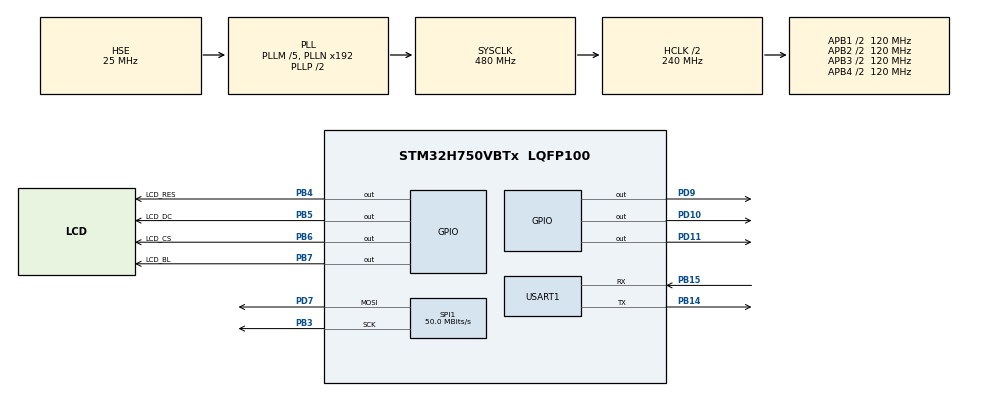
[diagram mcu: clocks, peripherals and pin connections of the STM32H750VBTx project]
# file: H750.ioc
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CORTEX_M7.default_mode_Activation=1
Dma.Request0=SPI1_TX
Dma.SPI1_TX.0.Direction=DMA_MEMORY_TO_PERIPH
Dma.SPI1_TX.0.EventEnable=DISABLE
Dma.SPI1_TX.0.FIFOMode=DMA_FIFOMODE_DISABLE
Dma.SPI1_TX.0.Instance=DMA1_Stream0
Dma.SPI1_TX.0.MemDataAlignment=DMA_MDATAALIGN_HALFWORD
Dma.SPI1_TX.0.MemInc=DMA_MINC_ENABLE
Dma.SPI1_TX.0.Mode=DMA_NORMAL
Dma.SPI1_TX.0.PeriphDataAlignment=DMA_PDATAALIGN_HALFWORD
Dma.SPI1_TX.0.PeriphInc=DMA_PINC_DISABLE
Dma.SPI1_TX.0.Polarity=HAL_DMAMUX_REQ_GEN_RISING
Dma.SPI1_TX.0.Priority=DMA_PRIORITY_MEDIUM
Dma.SPI1_TX.0.RequestNumber=1
Dma.SPI1_TX.0.SignalID=NONE
Dma.SPI1_TX.0.SyncEnable=DISABLE
Dma.SPI1_TX.0.SyncPolarity=HAL_DMAMUX_SYNC_NO_EVENT
Dma.SPI1_TX.0.SyncRequestNumber=1
Dma.SPI1_TX.0.SyncSignalID=NONE
Mcu.Family=STM32H7
Mcu.Name=STM32H750VBTx
Mcu.Package=LQFP100
NVIC.DMA1_Stream0_IRQn=true\:0\:0\:true\:false\:true\:false\:true\:true
NVIC.PriorityGroup=NVIC_PRIORITYGROUP_4
NVIC.SPI1_IRQn=true\:0\:0\:true\:false\:true\:false\:true\:true
NVIC.TIM3_IRQn=true\:0\:0\:false\:false\:true\:true\:true\:true
PA13\ (JTMS/SWDIO).Mode=Serial_Wire
PA13\ (JTMS/SWDIO).Signal=DEBUG_JTMS-SWDIO
PA14\ (JTCK/SWCLK).Mode=Serial_Wire
PA14\ (JTCK/SWCLK).Signal=DEBUG_JTCK-SWCLK
PB14.GPIO_Speed=GPIO_SPEED_FREQ_VERY_HIGH
PB14.Mode=Asynchronous
PB14.Signal=USART1_TX
PB15.GPIO_Speed=GPIO_SPEED_FREQ_VERY_HIGH
PB15.Mode=Asynchronous
PB15.Signal=USART1_RX
PB3\ (JTDO/TRACESWO).GPIO_Speed=GPIO_SPEED_FREQ_VERY_HIGH
PB3\ (JTDO/TRACESWO).Mode=TX_Only_Simplex_Unidirect_Master
PB3\ (JTDO/TRACESWO).Signal=SPI1_SCK
PB4\ (NJTRST).GPIO_Label=LCD_RES
PB4\ (NJTRST).GPIO_Speed=GPIO_SPEED_FREQ_VERY_HIGH
PB4\ (NJTRST).PinState=GPIO_PIN_SET
PB4\ (NJTRST).Signal=GPIO_Output
PB5.GPIO_Label=LCD_DC
PB5.GPIO_Speed=GPIO_SPEED_FREQ_VERY_HIGH
PB5.PinState=GPIO_PIN_SET
PB5.Signal=GPIO_Output
PB6.GPIO_Label=LCD_CS
PB6.GPIO_Speed=GPIO_SPEED_FREQ_VERY_HIGH
PB6.PinState=GPIO_PIN_SET
PB6.Signal=GPIO_Output
PB7.GPIO_FM7=__NULL
PB7.GPIO_Label=LCD_BL
PB7.GPIO_Speed=GPIO_SPEED_FREQ_VERY_HIGH
PB7.PinState=GPIO_PIN_SET
PB7.Signal=GPIO_Output
PD10.GPIO_Speed=GPIO_SPEED_FREQ_HIGH
PD10.PinState=GPIO_PIN_SET
PD10.Signal=GPIO_Output
PD11.GPIO_Speed=GPIO_SPEED_FREQ_HIGH
PD11.PinState=GPIO_PIN_SET
PD11.Signal=GPIO_Output
PD7.GPIO_Speed=GPIO_SPEED_FREQ_VERY_HIGH
PD7.Mode=TX_Only_Simplex_Unidirect_Master
PD7.Signal=SPI1_MOSI
PD9.GPIO_Speed=GPIO_SPEED_FREQ_HIGH
PD9.PinState=GPIO_PIN_SET
PD9.Signal=GPIO_Output
PH0-OSC_IN\ (PH0).Mode=HSE-External-Oscillator
PH0-OSC_IN\ (PH0).Signal=RCC_OSC_IN
PH1-OSC_OUT\ (PH1).Mode=HSE-External-Oscillator
PH1-OSC_OUT\ (PH1).Signal=RCC_OSC_OUT
ProjectManager.HeapSize=0x200
ProjectManager.StackSize=0x400
ProjectManager.TargetToolchain=MDK-ARM V5.32
RCC.ADCFreq_Value=200000000
RCC.APB1Freq_Value=120000000
RCC.APB2Freq_Value=120000000
RCC.APB3Freq_Value=120000000
RCC.APB4Freq_Value=120000000
RCC.CortexFreq_Value=480000000
RCC.D1PPRE=RCC_APB3_DIV2
RCC.D2PPRE1=RCC_APB1_DIV2
RCC.D2PPRE2=RCC_APB2_DIV2
RCC.D3PPRE=RCC_APB4_DIV2
RCC.DIVM1=5
RCC.DIVM2=5
RCC.DIVN1=192
RCC.DIVN2=80
RCC.HCLKFreq_Value=240000000
RCC.HPRE=RCC_HCLK_DIV2
RCC.PLLFRACN=0
RCC.PLLSourceVirtual=RCC_PLLSOURCE_HSE
RCC.SPI123CLockSelection=RCC_SPI123CLKSOURCE_PLL2
RCC.SYSCLKFreq_VALUE=480000000
RCC.SYSCLKSource=RCC_SYSCLKSOURCE_PLLCLK
RCC.USBFreq_Value=480000000
SPI1.BaudRatePrescaler=SPI_BAUDRATEPRESCALER_4
SPI1.CLKPhase=SPI_PHASE_2EDGE
SPI1.CLKPolarity=SPI_POLARITY_HIGH
SPI1.CRCCalculation=SPI_CRCCALCULATION_DISABLE
SPI1.CalculateBaudRate=50.0 MBits/s
SPI1.DataSize=SPI_DATASIZE_16BIT
SPI1.Direction=SPI_DIRECTION_2LINES_TXONLY
SPI1.IOSwap=SPI_IO_SWAP_DISABLE
SPI1.MasterKeepIOState=SPI_MASTER_KEEP_IO_STATE_ENABLE
SPI1.Mode=SPI_MODE_MASTER
SPI1.NSSPMode=SPI_NSS_PULSE_DISABLE
SPI1.VirtualType=VM_MASTER
TIM3.AutoReloadPreload=TIM_AUTORELOAD_PRELOAD_ENABLE
TIM3.Period=999
TIM3.Prescaler=239
USART1.VirtualMode-Asynchronous=VM_ASYNC
USART1.WordLength=WORDLENGTH_8B
VP_TIM3_VS_ClockSourceINT.Mode=Internal
board=custom

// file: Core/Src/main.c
/* USER CODE BEGIN Header */
/**
  ******************************************************************************
  * @file           : main.c
  * @brief          : Main program body
  ******************************************************************************
  * @attention
  *
  * Copyright (c) 2022 STMicroelectronics.
  * All rights reserved.
  *
  * This software is licensed under terms that can be found in the LICENSE file
  * in the root directory of this software component.
  * If no LICENSE file comes with this software, it is provided AS-IS.
  *
  ******************************************************************************
  */
/* USER CODE END Header */
#include "main.h"
#include "dma.h"
#include "spi.h"
#include "tim.h"
#include "usart.h"
#include "gpio.h"

/* USER CODE BEGIN Includes */
#include "bsp_tft_st7735.h"
#include "lvgl.h"
#include "lv_port_disp.h"
#include "lv_demos.h"
/* USER CODE END Includes */

/* USER CODE BEGIN PTD */
extern uint8_t Anime_Flag;
/* USER CODE END PTD */

void SystemClock_Config(void);
static void MPU_Config(void);

/* USER CODE BEGIN 0 */
extern TIM_HandleTypeDef htim3;

void lv_100ask_demo_course_2_1_1(void)
{

    lv_obj_t *btn = lv_btn_create(lv_scr_act());
    lv_obj_align(btn, LV_ALIGN_CENTER, 0, 0);
//    lv_obj_set_height(btn, 30);
	lv_obj_set_size(btn, 100, 40);

    lv_obj_t *label;
    label = lv_label_create(btn);
    lv_obj_align(label, LV_ALIGN_CENTER, 0, 0);
    lv_label_set_text(label, "HELLO LVGL");

    static lv_style_t style_btn;
    lv_style_init(&style_btn);
    lv_style_set_radius(&style_btn, 10);
    lv_style_set_border_color(&style_btn, lv_color_white());
    lv_style_set_border_opa(&style_btn, LV_OPA_30);
    lv_obj_add_style(btn, &style_btn, LV_STATE_DEFAULT);

}

/* USER CODE END 0 */

int main(void)
{

  /* MPU Configuration--------------------------------------------------------*/
  MPU_Config();

  /* MCU Configuration--------------------------------------------------------*/

  /* Reset of all peripherals, Initializes the Flash interface and the Systick. */
  HAL_Init();

  /* Configure the system clock */
  SystemClock_Config();

  /* Initialize all configured peripherals */
  MX_GPIO_Init();
  MX_DMA_Init();
  MX_SPI1_Init();

  MX_USART1_UART_Init();
  MX_TIM3_Init();
  /* USER CODE BEGIN 2 */

  LCD_Init();
  HAL_Delay(100);

  lv_init();
  lv_port_disp_init();

  lv_100ask_demo_course_2_1_1();
//  lv_demo_music();
//  lv_demo_widgets();
//  lv_demo_benchmark();

  /* USER CODE END 2 */

  /* Infinite loop */
  /* USER CODE BEGIN WHILE */
  HAL_TIM_Base_Start_IT(&htim3);
  while (1)
	{
    /* USER CODE END WHILE */

    /* USER CODE BEGIN 3 */

        lv_task_handler();

	}
  /* USER CODE END 3 */
}

void SystemClock_Config(void)
{
  RCC_OscInitTypeDef RCC_OscInitStruct = {0};
  RCC_ClkInitTypeDef RCC_ClkInitStruct = {0};

  /** Supply configuration update enable
  */
  HAL_PWREx_ConfigSupply(PWR_LDO_SUPPLY);

  /** Configure the main internal regulator output voltage
  */
  __HAL_PWR_VOLTAGESCALING_CONFIG(PWR_REGULATOR_VOLTAGE_SCALE0);

  while(!__HAL_PWR_GET_FLAG(PWR_FLAG_VOSRDY)) {}

  /** Macro to configure the PLL clock source
  */
  __HAL_RCC_PLL_PLLSOURCE_CONFIG(RCC_PLLSOURCE_HSE);

  /** Initializes the RCC Oscillators according to the specified parameters
  * in the RCC_OscInitTypeDef structure.
  */
  RCC_OscInitStruct.OscillatorType = RCC_OSCILLATORTYPE_HSE;
  RCC_OscInitStruct.HSEState = RCC_HSE_ON;
  RCC_OscInitStruct.PLL.PLLState = RCC_PLL_ON;
  RCC_OscInitStruct.PLL.PLLSource = RCC_PLLSOURCE_HSE;
  RCC_OscInitStruct.PLL.PLLM = 5;
  RCC_OscInitStruct.PLL.PLLN = 192;
  RCC_OscInitStruct.PLL.PLLP = 2;
  RCC_OscInitStruct.PLL.PLLQ = 2;
  RCC_OscInitStruct.PLL.PLLR = 2;
  RCC_OscInitStruct.PLL.PLLRGE = RCC_PLL1VCIRANGE_2;
  RCC_OscInitStruct.PLL.PLLVCOSEL = RCC_PLL1VCOWIDE;
  RCC_OscInitStruct.PLL.PLLFRACN = 0;
  if (HAL_RCC_OscConfig(&RCC_OscInitStruct) != HAL_OK)
  {
    Error_Handler();
  }

  /** Initializes the CPU, AHB and APB buses clocks
  */
  RCC_ClkInitStruct.ClockType = RCC_CLOCKTYPE_HCLK|RCC_CLOCKTYPE_SYSCLK
                              |RCC_CLOCKTYPE_PCLK1|RCC_CLOCKTYPE_PCLK2
                              |RCC_CLOCKTYPE_D3PCLK1|RCC_CLOCKTYPE_D1PCLK1;
  RCC_ClkInitStruct.SYSCLKSource = RCC_SYSCLKSOURCE_PLLCLK;
  RCC_ClkInitStruct.SYSCLKDivider = RCC_SYSCLK_DIV1;
  RCC_ClkInitStruct.AHBCLKDivider = RCC_HCLK_DIV2;
  RCC_ClkInitStruct.APB3CLKDivider = RCC_APB3_DIV2;
  RCC_ClkInitStruct.APB1CLKDivider = RCC_APB1_DIV2;
  RCC_ClkInitStruct.APB2CLKDivider = RCC_APB2_DIV2;
  RCC_ClkInitStruct.APB4CLKDivider = RCC_APB4_DIV2;

  if (HAL_RCC_ClockConfig(&RCC_ClkInitStruct, FLASH_LATENCY_4) != HAL_OK)
  {
    Error_Handler();
  }
}

/* MPU Configuration */

void MPU_Config(void)
{
  MPU_Region_InitTypeDef MPU_InitStruct = {0};

  /* Disables the MPU */
  HAL_MPU_Disable();

  /** Initializes and configures the Region and the memory to be protected
  */
  MPU_InitStruct.Enable = MPU_REGION_ENABLE;
  MPU_InitStruct.Number = MPU_REGION_NUMBER0;
  MPU_InitStruct.BaseAddress = 0x0;
  MPU_InitStruct.Size = MPU_REGION_SIZE_4GB;
  MPU_InitStruct.SubRegionDisable = 0x87;
  MPU_InitStruct.TypeExtField = MPU_TEX_LEVEL0;
  MPU_InitStruct.AccessPermission = MPU_REGION_NO_ACCESS;
  MPU_InitStruct.DisableExec = MPU_INSTRUCTION_ACCESS_DISABLE;
  MPU_InitStruct.IsShareable = MPU_ACCESS_SHAREABLE;
  MPU_InitStruct.IsCacheable = MPU_ACCESS_NOT_CACHEABLE;
  MPU_InitStruct.IsBufferable = MPU_ACCESS_NOT_BUFFERABLE;

  HAL_MPU_ConfigRegion(&MPU_InitStruct);
  /* Enables the MPU */
  HAL_MPU_Enable(MPU_PRIVILEGED_DEFAULT);

}

void Error_Handler(void)
{
  __disable_irq();
  while (1)
  {
  }
}
